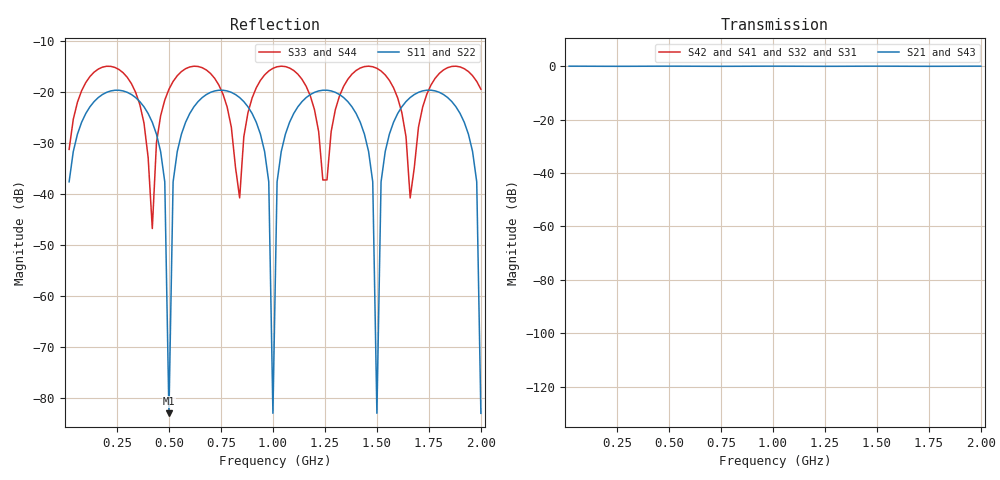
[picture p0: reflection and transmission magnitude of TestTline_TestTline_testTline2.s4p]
# MHz MA S R 50.0
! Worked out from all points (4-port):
!   100 points, 20 MHz to 2 GHz, reference 50 ohm
!   strongest paths, dB at 20 MHz, 520 MHz, 1.02 GHz, 1.52 GHz, 2 GHz:
!     S21: 0.0, 0.0, 0.0, 0.0, 0.0
!     S43: 0.0, -0.1, -0.1, -0.1, -0.1
!     S42: -, -, -, -, -
!     S41: -, -, -, -, -
!     S32: -, -, -, -, -
!     S31: -, -, -, -, -
!   lowest |S11| = -83.0 dB at 500 MHz (marker M1), VSWR 1.00, Z = 50 + j0.000271 ohm
!   |S11| at or under -10 dB: start of sweep to end of sweep
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20  0.01324 -100.5  0.9992 -7.2  0 81.3  0 -98.9
    0.9992 -7.2  0.01324 -100.4  0 -61.6  0 83.9
    0 82.4  0 -97.6  0.02753 81.8  0.9994 -8.8
    0 96.6  0 40.6  0.9994 -8.8  0.02753 81.7
500  7.1e-05 177.8  0.9993 -180.0  0 52.1  0 70.7
     0.9993 -180.0  7.1e-05 179.5  0 -109.2  0 -110.9
     0 109.8  0 71.2  0.1071 54.1  0.994 143.5
     0 -107.2  0 25.9  0.994 143.5  0.1071 53.0
640  0.08102 -141.8  0.996 129.4  0 -179.7  0 -163.4
     0.996 129.4  0.08102 -139.6  0 12.4  0 -82.8
     0 -144.9  0 -162.7  0.1792 -5.6  0.9835 83.6
     0 18.1  0 80.1  0.9835 83.6  0.1792 -7.1
1400  0.06194 123.8  0.9974 -143.8  0 27.7  0 69.2
      0.9974 -143.8  0.06193 128.5  0 -106.9  0 -108.1
      0 -139.2  0 70.2  0.1637 26.5  0.9862 114.8
      0 -105.4  0 11.3  0.9862 114.8  0.1637 23.2
1500  7.1e-05 176.4  0.9993 -180.0  0 -160.0  0 -141.1
      0.9993 -180.0  7.1e-05 -178.5  0 37.4  0 -48.2
      0 -103.1  0 -142.7  0.1718 -15.9  0.9848 72.3
      0 37.1  0 112.7  0.9848 72.3  0.1718 -19.5
1760  0.1048 173.4  0.9938 86.4  0 59.1  0 -64.7
      0.9938 86.4  0.1048 179.4  0 -76.6  0 43.5
      0 30.2  0 -65.7  0.1179 51.3  0.9927 -40.8
      0 -69.6  0 55.7  0.9927 -40.8  0.1179 47.1
2000  7.1e-05 178.2  0.9993 -0.0  0 124.7  0 21.1
      0.9993 -0.0  7.1e-05 -174.9  0 -111.1  0 15.4
      0 -138.5  0 20.6  0.1072 -51.2  0.9939 -143.6
      0 -153.9  0 47.0  0.9939 -143.6  0.1072 -55.9
